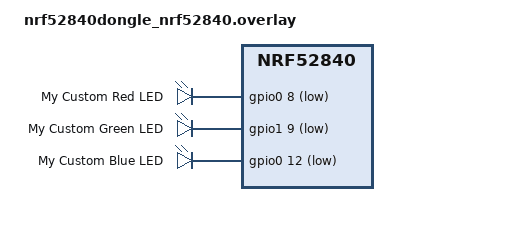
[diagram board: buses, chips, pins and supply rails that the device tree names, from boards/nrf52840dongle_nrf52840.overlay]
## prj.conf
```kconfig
CONFIG_GPIO=y
CONFIG_PWM=y
CONFIG_LED=y
CONFIG_LED_PWM=y
```

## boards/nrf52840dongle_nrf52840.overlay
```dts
/ {
    aliases {
        led0 = &my_led0;
        led1 = &my_led1;
        led2 = &my_led2;
    };

    leds {
        compatible = "gpio-leds";
        my_led0: led_0 {
            /* Red LED on P0.08 of the nRF52840 Dongle */
            gpios = <&gpio0 8 GPIO_ACTIVE_LOW>;
            label = "My Custom Red LED";
        };
        my_led1: led_1 {
            /* Green LED on P1.09 of the nRF52840 Dongle */
            gpios = <&gpio1 9 GPIO_ACTIVE_LOW>;
            label = "My Custom Green LED";
        };
        my_led2: led_2 {
            /* Blue LED on P0.12 of the nRF52840 Dongle */
            gpios = <&gpio0 12 GPIO_ACTIVE_LOW>;
            label = "My Custom Blue LED";
        };
    };
};
```

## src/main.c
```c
/*
 * Copyright (c) 2016 Intel Corporation
 *
 * SPDX-License-Identifier: Apache-2.0
 */

#include <zephyr/kernel.h>
#include <zephyr/drivers/gpio.h>

/* 1000 msec = 1 sec */
#define SLEEP_TIME_MS   1000

// /* The devicetree node identifier for the "led0" alias. */
// #define LED0_NODE DT_ALIAS(led0)
// #define LED1_NODE DT_ALIAS(led1)
// #define LED2_NODE DT_ALIAS(led2)

/*
 * A build error on this line means your board is unsupported.
 * See the sample documentation for information on how to fix this.
 */
// static const struct gpio_dt_spec red_led = GPIO_DT_SPEC_GET(LED0_NODE, gpios);
// static const struct gpio_dt_spec green_led = GPIO_DT_SPEC_GET(LED1_NODE, gpios);
// static const struct gpio_dt_spec blue_led = GPIO_DT_SPEC_GET(LED2_NODE, gpios);

/* Get LED device pointers (led0, led1, led2 from devicetree aliases) */
static const struct gpio_dt_spec red_led = GPIO_DT_SPEC_GET_OR(DT_ALIAS(led0), gpios, {0});
static const struct gpio_dt_spec green_led = GPIO_DT_SPEC_GET_OR(DT_ALIAS(led1), gpios, {0});
static const struct gpio_dt_spec blue_led = GPIO_DT_SPEC_GET_OR(DT_ALIAS(led2), gpios, {0});

int main(void)
{
	// int ret;

	if (!gpio_is_ready_dt(&red_led) || !gpio_is_ready_dt(&green_led) || !gpio_is_ready_dt(&blue_led)) {
		return 0;
	}

	// ret = gpio_pin_configure_dt(&led, GPIO_OUTPUT_ACTIVE);
	// if (ret < 0) {
	// 	return 0;
	// }

	// while (1) {
	// 	ret = gpio_pin_toggle_dt(&led);
	// 	if (ret < 0) {
	// 		return 0;
	// 	}
	// 	k_msleep(SLEEP_TIME_MS);
	// }
	// return 0;

	/* Configure pins as outputs */
    gpio_pin_configure_dt(&red_led, GPIO_OUTPUT_INACTIVE);
    gpio_pin_configure_dt(&green_led, GPIO_OUTPUT_INACTIVE);
    gpio_pin_configure_dt(&blue_led, GPIO_OUTPUT_INACTIVE);

    while (1) {
        /* Turn ON Red, turn OFF others */
        gpio_pin_set_dt(&red_led, 0);
        gpio_pin_set_dt(&green_led, 1);
        gpio_pin_set_dt(&blue_led, 1);
        k_msleep(SLEEP_TIME_MS);

        /* Turn ON Green, turn OFF others */
        gpio_pin_set_dt(&red_led, 1);
        gpio_pin_set_dt(&green_led, 0);
        gpio_pin_set_dt(&blue_led, 1);
        k_msleep(SLEEP_TIME_MS);

        /* Turn ON Blue, turn OFF others */
        gpio_pin_set_dt(&red_led, 1);
        gpio_pin_set_dt(&green_led, 1);
        gpio_pin_set_dt(&blue_led, 0);
        k_msleep(SLEEP_TIME_MS);
	}
	return 0;
}
```
